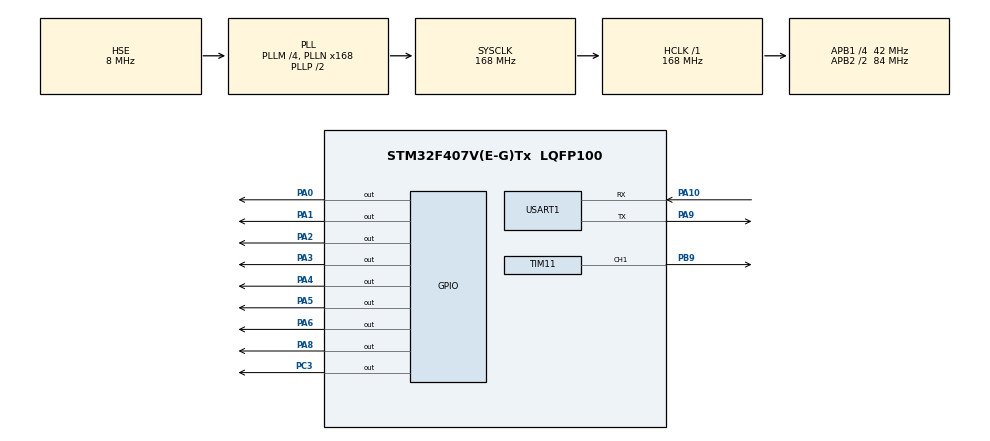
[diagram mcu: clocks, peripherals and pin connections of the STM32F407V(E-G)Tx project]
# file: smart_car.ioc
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Mcu.Family=STM32F4
Mcu.Name=STM32F407V(E-G)Tx
Mcu.Package=LQFP100
NVIC.PriorityGroup=NVIC_PRIORITYGROUP_4
PA0-WKUP.Signal=GPIO_Output
PA1.Signal=GPIO_Output
PA10.Mode=Asynchronous
PA10.Signal=USART1_RX
PA13.Mode=Serial_Wire
PA13.Signal=SYS_JTMS-SWDIO
PA14.Mode=Serial_Wire
PA14.Signal=SYS_JTCK-SWCLK
PA2.Signal=GPIO_Output
PA3.Signal=GPIO_Output
PA4.Signal=GPIO_Output
PA5.Signal=GPIO_Output
PA6.Signal=GPIO_Output
PA8.Signal=GPIO_Output
PA9.Mode=Asynchronous
PA9.Signal=USART1_TX
PB9.Signal=S_TIM11_CH1
PC3.Signal=GPIO_Output
PH0-OSC_IN.Mode=HSE-External-Oscillator
PH0-OSC_IN.Signal=RCC_OSC_IN
PH1-OSC_OUT.Mode=HSE-External-Oscillator
PH1-OSC_OUT.Signal=RCC_OSC_OUT
ProjectManager.HeapSize=0x200
ProjectManager.StackSize=0x400
ProjectManager.TargetToolchain=MDK-ARM V5.32
RCC.48MHZClocksFreq_Value=84000000
RCC.AHBFreq_Value=168000000
RCC.APB1CLKDivider=RCC_HCLK_DIV4
RCC.APB1Freq_Value=42000000
RCC.APB1TimFreq_Value=84000000
RCC.APB2CLKDivider=RCC_HCLK_DIV2
RCC.APB2Freq_Value=84000000
RCC.APB2TimFreq_Value=168000000
RCC.CortexFreq_Value=168000000
RCC.HCLKFreq_Value=168000000
RCC.HSE_VALUE=8000000
RCC.HSI_VALUE=16000000
RCC.LSE_VALUE=32768
RCC.PLLM=4
RCC.PLLN=168
RCC.PLLSourceVirtual=RCC_PLLSOURCE_HSE
RCC.SYSCLKFreq_VALUE=168000000
RCC.SYSCLKSource=RCC_SYSCLKSOURCE_PLLCLK
RCC.VCOOutputFreq_Value=336000000
SH.S_TIM11_CH1.0=TIM11_CH1,PWM Generation1 CH1
TIM11.AutoReloadPreload=TIM_AUTORELOAD_PRELOAD_ENABLE
TIM11.Channel=TIM_CHANNEL_1
TIM11.OCPolarity_1=TIM_OCPOLARITY_HIGH
TIM11.Period=100
TIM11.Prescaler=8399
USART1.VirtualMode=VM_ASYNC
VP_TIM11_VS_ClockSourceINT.Mode=Enable_Timer
board=custom

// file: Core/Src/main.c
/* USER CODE BEGIN Header */
/**
  ******************************************************************************
  * @file           : main.c
  * @brief          : Main program body
  ******************************************************************************
  * @attention
  *
  * Copyright (c) 2023 STMicroelectronics.
  * All rights reserved.
  *
  * This software is licensed under terms that can be found in the LICENSE file
  * in the root directory of this software component.
  * If no LICENSE file comes with this software, it is provided AS-IS.
  *
  ******************************************************************************
  */
/* USER CODE END Header */
#include "main.h"
#include "tim.h"
#include "usart.h"
#include "gpio.h"

/* USER CODE BEGIN Includes */
#include <stdio.h>
#include <string.h>
#include "motor.h"
#include "sg90.h"
/* USER CODE END Includes */

void SystemClock_Config(void);

/* USER CODE BEGIN 0 */
int fputc(int ch, FILE *f)
{
	while((USART1->SR&0X40)==0);//ѭ������,ֱ���������
	USART1->DR = (uint8_t) ch;
	return ch;
}
/* USER CODE END 0 */

int main(void)
{

  /* MCU Configuration--------------------------------------------------------*/

  /* Reset of all peripherals, Initializes the Flash interface and the Systick. */
  HAL_Init();

  /* Configure the system clock */
  SystemClock_Config();

  /* Initialize all configured peripherals */
  MX_GPIO_Init();
  MX_USART1_UART_Init();
  MX_TIM11_Init();
  /* USER CODE BEGIN 2 */
	//hor_rightward();
	sg90_init();
  /* USER CODE END 2 */

  /* Infinite loop */
  while (1)
  {

    /* USER CODE BEGIN 3 */
		HAL_GPIO_WritePin(GPIOA,GPIO_PIN_8, GPIO_PIN_SET);
		printf("turn on led\r\n");
    HAL_Delay(500);
		HAL_GPIO_WritePin(GPIOA,GPIO_PIN_8, GPIO_PIN_RESET);
		printf("turn off led\r\n");
    HAL_Delay(500);
  }
  /* USER CODE END 3 */
}

void SystemClock_Config(void)
{
  RCC_OscInitTypeDef RCC_OscInitStruct = {0};
  RCC_ClkInitTypeDef RCC_ClkInitStruct = {0};

  /** Configure the main internal regulator output voltage
  */
  __HAL_RCC_PWR_CLK_ENABLE();
  __HAL_PWR_VOLTAGESCALING_CONFIG(PWR_REGULATOR_VOLTAGE_SCALE1);

  /** Initializes the RCC Oscillators according to the specified parameters
  * in the RCC_OscInitTypeDef structure.
  */
  RCC_OscInitStruct.OscillatorType = RCC_OSCILLATORTYPE_HSE;
  RCC_OscInitStruct.HSEState = RCC_HSE_ON;
  RCC_OscInitStruct.PLL.PLLState = RCC_PLL_ON;
  RCC_OscInitStruct.PLL.PLLSource = RCC_PLLSOURCE_HSE;
  RCC_OscInitStruct.PLL.PLLM = 4;
  RCC_OscInitStruct.PLL.PLLN = 168;
  RCC_OscInitStruct.PLL.PLLP = RCC_PLLP_DIV2;
  RCC_OscInitStruct.PLL.PLLQ = 4;
  if (HAL_RCC_OscConfig(&RCC_OscInitStruct) != HAL_OK)
  {
    Error_Handler();
  }

  /** Initializes the CPU, AHB and APB buses clocks
  */
  RCC_ClkInitStruct.ClockType = RCC_CLOCKTYPE_HCLK|RCC_CLOCKTYPE_SYSCLK
                              |RCC_CLOCKTYPE_PCLK1|RCC_CLOCKTYPE_PCLK2;
  RCC_ClkInitStruct.SYSCLKSource = RCC_SYSCLKSOURCE_PLLCLK;
  RCC_ClkInitStruct.AHBCLKDivider = RCC_SYSCLK_DIV1;
  RCC_ClkInitStruct.APB1CLKDivider = RCC_HCLK_DIV4;
  RCC_ClkInitStruct.APB2CLKDivider = RCC_HCLK_DIV2;

  if (HAL_RCC_ClockConfig(&RCC_ClkInitStruct, FLASH_LATENCY_5) != HAL_OK)
  {
    Error_Handler();
  }
}

void Error_Handler(void)
{
  __disable_irq();
  while (1)
  {
  }
}
